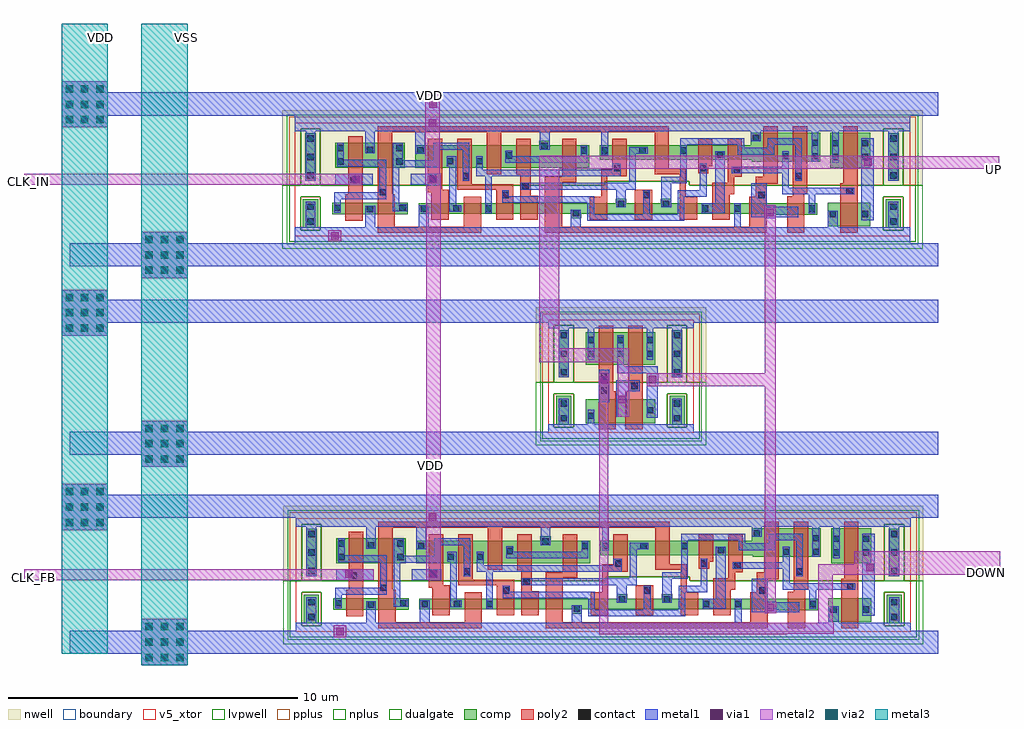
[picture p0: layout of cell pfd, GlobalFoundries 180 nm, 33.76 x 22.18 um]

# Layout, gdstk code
import gdstk
lib = gdstk.Library(unit=1e-6, precision=1e-09)
def R(c, l, rs):  # rectangles x0, y0, x1, y1
    for r in rs: c.add(gdstk.rectangle(r[:2], r[2:], *l))
def A(c, l, x, y, w, h, nx, ny, dx, dy):  # array of equal rectangles
    R(c, l, [(x+i*dx, y+j*dy, x+i*dx+w, y+j*dy+h) for i in range(nx) for j in range(ny)])
def P(c, l, *ps):  # polygons
    for p in ps: c.add(gdstk.Polygon(p, *l))
boundary = (0, 0)
nwell = (21, 0)
comp = (22, 0)
poly2 = (30, 0)
pplus = (31, 0)
nplus = (32, 0)
contact = (33, 0)
metal1 = (34, 0)
via1 = (35, 0)
metal2 = (36, 0)
via2 = (38, 0)
metal3 = (42, 0)
dualgate = (55, 0)
v5_xtor = (112, 1)
lvpwell = (204, 0)

gf180mcu_fd_sc_mcu7t5v0_ = lib.new_cell('gf180mcu_fd_sc_mcu7t5v0__dffrnq_1')
R(gf180mcu_fd_sc_mcu7t5v0_, boundary, [(0,0,19.04,3.92)])
P(gf180mcu_fd_sc_mcu7t5v0_, nwell, [(-0.43,1.76),(-0.43,4.35),(19.47,4.35),(19.47,1.76),(12.515,1.76),(12.515,1.895),(9.6,1.895),(9.6,1.76)])
R(gf180mcu_fd_sc_mcu7t5v0_, comp, [(17.305,0.345,18.785,1.16), (0.18,0.755,2.78,1.16), (0.28,2.36,2.68,3.225), (17.405,2.36,18.785,3.575)])
P(gf180mcu_fd_sc_mcu7t5v0_, comp, [(3.04,2.36),(3.04,3.14),(7.34,3.14),(7.34,3.3),(7.7,3.3),(7.7,3.14),(9.06,3.14),(9.06,2.36)],
  [(8.42,0.62),(8.42,0.78),(3.16,0.78),(3.16,1.14),(9.98,1.14),(9.98,1.295),(10.34,1.295),(10.34,1.14),(11.54,1.14),(11.54,1.295),(11.9,1.295),(11.9,1.14),(16.945,1.14),(16.945,0.74),(15.505,0.74),(15.505,0.78),(8.78,0.78),(8.78,0.62)],
  [(14.685,2.58),(14.685,2.635),(9.42,2.635),(9.42,3.14),(14.645,3.14),(14.645,3.58),(17.045,3.58),(17.045,2.58)])
R(gf180mcu_fd_sc_mcu7t5v0_, poly2, [(10.64,0.56,11.24,1.6)])
P(gf180mcu_fd_sc_mcu7t5v0_, poly2, [(0.62,0.535),(0.62,1.44),(0.72,1.44),(0.72,3.45),(1.22,3.45),(1.22,0.535)],
  [(3.6,0.56),(3.6,1.51),(3.48,1.51),(3.48,3.36),(3.98,3.36),(3.98,1.61),(4.2,1.61),(4.2,0.56)],
  [(5.84,0.56),(5.84,1.6),(4.5,1.6),(4.5,3.36),(5,3.36),(5,1.8),(6.44,1.8),(6.44,0.56)],
  [(6.68,0.56),(6.68,2.115),(6.54,2.115),(6.54,3.36),(7.04,3.36),(7.04,1.4),(7.28,1.4),(7.28,0.56)],
  [(9.08,0.56),(9.08,1.36),(9.48,1.36),(9.48,2.335),(9.86,2.335),(9.86,3.36),(10.36,3.36),(10.36,2.07),(9.68,2.07),(9.68,0.56)],
  [(1.74,0.12),(1.74,3.8),(11.82,3.8),(11.82,2.335),(12.4,2.335),(12.4,1.36),(12.8,1.36),(12.8,0.56),(12.2,0.56),(12.2,2.135),(11.32,2.135),(11.32,3.6),(6.02,3.6),(6.02,2.14),(5.52,2.14),(5.52,3.6),(2.24,3.6),(2.24,1.44),(2.34,1.44),(2.34,0.32),(4.72,0.32),(4.72,1.36),(5.32,1.36),(5.32,0.12)],
  [(12.825,2.175),(12.825,3.36),(13.325,3.36),(13.325,2.415),(13.185,2.415),(13.185,2.175)],
  [(13.325,0.56),(13.325,1.84),(13.845,1.84),(13.845,3.36),(14.345,3.36),(14.345,2.06),(14.085,2.06),(14.085,1.44),(13.925,1.44),(13.925,0.56)],
  [(7.52,0.12),(7.52,2.06),(8.12,2.06),(8.12,3.36),(8.62,3.36),(8.62,1.86),(8.12,1.86),(8.12,0.32),(14.605,0.32),(14.605,1.36),(14.825,1.36),(14.825,2.06),(15.085,2.06),(15.085,3.8),(15.585,3.8),(15.585,1.805),(15.205,1.805),(15.205,0.12)],
  [(15.905,0.12),(15.905,1.38),(16.105,1.38),(16.105,3.8),(16.605,3.8),(16.605,1.46),(16.505,1.46),(16.505,0.12)],
  [(17.745,0.12),(17.745,1.82),(17.845,1.82),(17.845,3.8),(18.345,3.8),(18.345,0.12)])
P(gf180mcu_fd_sc_mcu7t5v0_, pplus, [(-0.2,1.76),(-0.2,4.12),(19.24,4.12),(19.24,1.76),(12.515,1.76),(12.515,1.895),(9.6,1.895),(9.6,1.76)])
P(gf180mcu_fd_sc_mcu7t5v0_, nplus, [(-0.2,-0.2),(-0.2,1.76),(9.6,1.76),(9.6,1.895),(12.515,1.895),(12.515,1.76),(19.24,1.76),(19.24,-0.2)])
A(gf180mcu_fd_sc_mcu7t5v0_, contact, 3.23, 0.85, 0.22, 0.22, 3, 1, 1.12, 0)
R(gf180mcu_fd_sc_mcu7t5v0_, contact, [(17.375,0.65,17.595,0.87), (18.495,0.65,18.715,0.87), (8.49,0.69,8.71,0.91), (1.37,0.825,1.59,1.045), (12.955,0.85,13.175,1.07), (14.075,0.85,14.295,1.07), (16.655,0.85,16.875,1.07), (0.25,0.87,0.47,1.09), (2.49,0.87,2.71,1.09), (10.05,1.005,10.27,1.225), (11.61,1.005,11.83,1.225), (6.05,1.31,6.27,1.53), (10.93,1.31,11.15,1.53), (14.915,1.31,15.135,1.53), (1.81,1.405,2.03,1.625), (17.95,1.455,18.17,1.675), (6.75,1.615,6.97,1.835), (0.79,1.835,1.01,2.055), (3.55,1.885,3.77,2.105), (4.69,1.97,4.91,2.19), (16.195,1.97,16.415,2.19), (14.055,2.18,14.275,2.4), (9.93,2.245,10.15,2.465), (12.895,2.245,13.115,2.465), (0.35,2.465,0.57,2.685), (2.39,2.465,2.61,2.685), (4.13,2.48,4.35,2.7), (5.15,2.48,5.37,2.7), (17.475,2.63,17.695,2.85), (18.495,2.63,18.715,2.85), (15.735,2.65,15.955,2.87), (16.755,2.65,16.975,2.87), (6.17,2.675,6.39,2.895), (13.475,2.705,13.695,2.925), (3.11,2.85,3.33,3.07), (8.77,2.85,8.99,3.07), (9.49,2.85,9.71,3.07), (10.8,2.85,11.02,3.07), (12.215,2.85,12.435,3.07), (1.37,2.87,1.59,3.09), (0.35,2.935,0.57,3.155), (2.39,2.935,2.61,3.155), (7.41,3.01,7.63,3.23), (17.475,3.1,17.695,3.32), (18.495,3.1,18.715,3.32), (16.755,3.12,16.975,3.34), (14.715,3.285,14.935,3.505)])
R(gf180mcu_fd_sc_mcu7t5v0_, metal1, [(18.475,0.55,18.91,3.38), (0.28,1.77,1.57,2.15), (2.89,1.77,3.92,2.15)])
P(gf180mcu_fd_sc_mcu7t5v0_, metal1, [(0.245,0.81),(0.245,1.51),(1.805,1.51),(1.805,2.405),(0.345,2.405),(0.345,3.225),(0.575,3.225),(0.575,2.635),(2.035,2.635),(2.035,1.28),(0.475,1.28),(0.475,0.81)],
  [(4.225,0.845),(4.225,2.42),(4.125,2.42),(4.125,2.76),(4.455,2.76),(4.455,1.075),(4.63,1.075),(4.63,0.845)],
  [(2.265,0.865),(2.265,3.215),(2.615,3.215),(2.615,2.615),(3.665,2.615),(3.665,3.22),(4.915,3.22),(4.915,1.91),(4.685,1.91),(4.685,2.99),(3.895,2.99),(3.895,2.385),(2.495,2.385),(2.495,1.095),(2.77,1.095),(2.77,0.865)],
  [(6.165,2.53),(6.165,2.955),(6.395,2.955),(6.395,2.76),(8.765,2.76),(8.765,3.13),(8.995,3.13),(8.995,2.53)],
  [(5.465,0.79),(5.465,2.07),(5.145,2.07),(5.145,2.76),(5.375,2.76),(5.375,2.3),(9.855,2.3),(9.855,2.525),(10.155,2.525),(10.155,2.07),(5.695,2.07),(5.695,0.79)],
  [(9.99,1),(9.99,1.61),(6.69,1.61),(6.69,1.84),(10.44,1.84),(10.44,3.075),(11.08,3.075),(11.08,2.845),(10.67,2.845),(10.67,1.61),(10.33,1.61),(10.33,1)],
  [(9,0.53),(9,1.15),(6.045,1.15),(6.045,1.59),(6.275,1.59),(6.275,1.38),(9.23,1.38),(9.23,0.76),(10.925,0.76),(10.925,1.59),(11.155,1.59),(11.155,0.76),(12.12,0.76),(12.12,1.59),(12.89,1.59),(12.89,2.525),(13.12,2.525),(13.12,1.36),(12.35,1.36),(12.35,0.53)],
  [(12.95,0.79),(12.95,1.13),(13.415,1.13),(13.415,2.93),(13.755,2.93),(13.755,0.79)],
  [(14.66,0.66),(14.66,1.83),(15.205,1.83),(15.205,1.02),(16.295,1.02),(16.295,0.66)],
  [(11.55,1),(11.55,2.05),(12.21,2.05),(12.21,3.39),(14.425,3.39),(14.425,3.05),(15.235,3.05),(15.235,3.39),(16.42,3.39),(16.42,1.91),(16.19,1.91),(16.19,3.16),(15.465,3.16),(15.465,2.82),(14.195,2.82),(14.195,3.16),(12.44,3.16),(12.44,1.82),(11.89,1.82),(11.89,1)],
  [(16.65,0.79),(16.65,1.45),(15.73,1.45),(15.73,2.175),(13.995,2.175),(13.995,2.405),(15.73,2.405),(15.73,2.93),(15.96,2.93),(15.96,1.68),(18.23,1.68),(18.23,1.45),(16.88,1.45),(16.88,0.79)],
  [(0,-0.3),(0,0.3),(1.31,0.3),(1.31,1.05),(1.655,1.05),(1.655,0.3),(3.17,0.3),(3.17,1.075),(3.51,1.075),(3.51,0.3),(8.43,0.3),(8.43,0.915),(8.77,0.915),(8.77,0.3),(14.07,0.3),(14.07,1.13),(14.3,1.13),(14.3,0.3),(17.315,0.3),(17.315,0.875),(17.655,0.875),(17.655,0.3),(19.04,0.3),(19.04,-0.3)],
  [(17.47,2.53),(17.47,3.62),(16.98,3.62),(16.98,2.59),(16.75,2.59),(16.75,3.62),(14.995,3.62),(14.995,3.28),(14.655,3.28),(14.655,3.62),(9.715,3.62),(9.715,2.79),(9.485,2.79),(9.485,3.62),(7.69,3.62),(7.69,2.99),(7.35,2.99),(7.35,3.62),(3.39,3.62),(3.39,2.845),(3.05,2.845),(3.05,3.62),(1.65,3.62),(1.65,2.865),(1.31,2.865),(1.31,3.62),(0,3.62),(0,4.22),(19.04,4.22),(19.04,3.62),(17.7,3.62),(17.7,2.53)])
R(gf180mcu_fd_sc_mcu7t5v0_, dualgate, [(-0.28,-0.28,19.32,4.2)])
R(gf180mcu_fd_sc_mcu7t5v0_, v5_xtor, [(0,0,19.04,3.92)])
P(gf180mcu_fd_sc_mcu7t5v0_, lvpwell, [(-0.43,-0.43),(-0.43,1.76),(9.6,1.76),(9.6,1.895),(12.515,1.895),(12.515,1.76),(19.47,1.76),(19.47,-0.43)])
gf180mcu_fd_sc_mcu7t5v0_.add(gdstk.Label('D', (3.64,1.96), layer=34, texttype=10))
gf180mcu_fd_sc_mcu7t5v0_.add(gdstk.Label('Q', (18.76,1.96), layer=34, texttype=10))
gf180mcu_fd_sc_mcu7t5v0_.add(gdstk.Label('RN', (15.4,0.84), layer=34, texttype=10))
gf180mcu_fd_sc_mcu7t5v0_.add(gdstk.Label('VSS', (1.4,0), layer=34, texttype=10))
gf180mcu_fd_sc_mcu7t5v0_.add(gdstk.Label('CLK', (0.84,1.96), layer=34, texttype=10))
gf180mcu_fd_sc_mcu7t5v0_.add(gdstk.Label('VDD', (1.4,3.92), layer=34, texttype=10))
gf180mcu_fd_sc_mcu7t5v0_.add(gdstk.Label('& Vendor GLOBALFOUNDRIES', (0,2), layer=63, texttype=63))
gf180mcu_fd_sc_mcu7t5v0_.add(gdstk.Label('& Product GF018hv5v_mcu_sc7', (0,1.5), layer=63, texttype=63))
gf180mcu_fd_sc_mcu7t5v0_.add(gdstk.Label('& Version 2015q2v1', (0,1), layer=63, texttype=63))
gf180mcu_fd_sc_mcu7t5v0_.add(gdstk.Label('& Metric 1.00', (0,0.5), layer=63, texttype=63))
gf180mcu_fd_sc_mcu7t5v0_.add(gdstk.Label('VNW', (0.345,3.92), layer=21, texttype=10))
gf180mcu_fd_sc_mcu7t5v0_.add(gdstk.Label('VPW', (0.34,-0.085), layer=204, texttype=10))

c_gf180mcu_fd_sc_mcu7t5v0_ = lib.new_cell('gf180mcu_fd_sc_mcu7t5v0__endcap')
R(c_gf180mcu_fd_sc_mcu7t5v0_, boundary, [(0,0,1.12,3.92)])
R(c_gf180mcu_fd_sc_mcu7t5v0_, nwell, [(-0.43,1.76,1.55,4.35)])
R(c_gf180mcu_fd_sc_mcu7t5v0_, comp, [(0.28,0.28,0.8,1.28), (0.36,1.92,0.72,3.56)])
R(c_gf180mcu_fd_sc_mcu7t5v0_, pplus, [(0.2,0.2,0.88,1.36)])
P(c_gf180mcu_fd_sc_mcu7t5v0_, pplus, [(-0.2,1.76),(-0.2,4.12),(1.32,4.12),(1.32,1.76),(0.88,1.76),(0.88,3.72),(0.2,3.72),(0.2,1.76)])
P(c_gf180mcu_fd_sc_mcu7t5v0_, nplus, [(-0.2,-0.2),(-0.2,1.76),(0.2,1.76),(0.2,3.72),(0.88,3.72),(0.88,1.36),(0.2,1.36),(0.2,0.2),(0.88,0.2),(0.88,3.72),(0.88,1.76),(1.32,1.76),(1.32,-0.2)])
A(c_gf180mcu_fd_sc_mcu7t5v0_, contact, 0.43, 1.99, 0.22, 0.22, 1, 3, 0, 0.64)
R(c_gf180mcu_fd_sc_mcu7t5v0_, contact, [(0.43,0.4,0.65,0.62), (0.43,0.905,0.65,1.125)])
P(c_gf180mcu_fd_sc_mcu7t5v0_, metal1, [(0,-0.3),(0,0.3),(0.37,0.3),(0.37,1.19),(0.71,1.19),(0.71,0.3),(1.12,0.3),(1.12,-0.3)],
  [(0.37,1.92),(0.37,3.62),(0,3.62),(0,4.22),(1.12,4.22),(1.12,3.62),(0.71,3.62),(0.71,1.92)])
R(c_gf180mcu_fd_sc_mcu7t5v0_, dualgate, [(-0.28,-0.28,1.4,4.2)])
R(c_gf180mcu_fd_sc_mcu7t5v0_, v5_xtor, [(0,0,1.12,3.92)])
R(c_gf180mcu_fd_sc_mcu7t5v0_, lvpwell, [(-0.43,-0.43,1.55,1.76)])
c_gf180mcu_fd_sc_mcu7t5v0_.add(gdstk.Label('VSS', (0.56,-0.01), layer=34, texttype=10))
c_gf180mcu_fd_sc_mcu7t5v0_.add(gdstk.Label('VDD', (0.56,3.935), layer=34, texttype=10))
c_gf180mcu_fd_sc_mcu7t5v0_.add(gdstk.Label('& Vendor GLOBALFOUNDRIES', (0,2), layer=63, texttype=63))
c_gf180mcu_fd_sc_mcu7t5v0_.add(gdstk.Label('& Product GF018hv5v_mcu_sc7', (0,1.5), layer=63, texttype=63))
c_gf180mcu_fd_sc_mcu7t5v0_.add(gdstk.Label('& Version 2015q2v1', (0,1), layer=63, texttype=63))
c_gf180mcu_fd_sc_mcu7t5v0_.add(gdstk.Label('& Metric 1.00', (0,0.5), layer=63, texttype=63))

c_gf180mcu_fd_sc_mcu7t5v0__ = lib.new_cell('gf180mcu_fd_sc_mcu7t5v0__nand2_1')
R(c_gf180mcu_fd_sc_mcu7t5v0__, boundary, [(0,0,2.8,3.92)])
R(c_gf180mcu_fd_sc_mcu7t5v0__, nwell, [(-0.43,1.76,3.23,4.35)])
R(c_gf180mcu_fd_sc_mcu7t5v0__, comp, [(0.185,0.34,2.585,1.16), (0.185,2.36,2.585,3.49)])
P(c_gf180mcu_fd_sc_mcu7t5v0__, poly2, [(0.625,0.12),(0.625,3.71),(1.125,3.71),(1.125,1.44),(1.225,1.44),(1.225,0.12)],
  [(1.545,0.12),(1.545,1.44),(1.645,1.44),(1.645,3.71),(2.145,3.71),(2.145,0.12)])
R(c_gf180mcu_fd_sc_mcu7t5v0__, pplus, [(-0.2,1.76,3,4.12)])
R(c_gf180mcu_fd_sc_mcu7t5v0__, nplus, [(-0.2,-0.2,3,1.76)])
A(c_gf180mcu_fd_sc_mcu7t5v0__, contact, 0.255, 2.63, 0.22, 0.22, 3, 2, 1.02, 0.47)
R(c_gf180mcu_fd_sc_mcu7t5v0__, contact, [(0.255,0.485,0.475,0.705), (2.295,0.675,2.515,0.895), (0.695,1.365,0.915,1.585), (1.755,1.515,1.975,1.735), (0.695,1.835,0.915,2.055)])
R(c_gf180mcu_fd_sc_mcu7t5v0__, metal1, [(0.635,1.06,1,2.19)])
P(c_gf180mcu_fd_sc_mcu7t5v0__, metal1, [(1.24,0.555),(1.24,1.82),(2.055,1.82),(2.055,1.44),(1.605,1.44),(1.605,0.555)],
  [(2.29,0.53),(2.29,2.07),(1.27,2.07),(1.27,3.38),(1.5,3.38),(1.5,2.3),(2.68,2.3),(2.68,0.53)],
  [(0,-0.3),(0,0.3),(0.25,0.3),(0.25,0.805),(0.48,0.805),(0.48,0.3),(2.8,0.3),(2.8,-0.3)],
  [(0.25,2.53),(0.25,3.62),(0,3.62),(0,4.22),(2.8,4.22),(2.8,3.62),(2.52,3.62),(2.52,2.53),(2.29,2.53),(2.29,3.62),(0.48,3.62),(0.48,2.53)])
R(c_gf180mcu_fd_sc_mcu7t5v0__, dualgate, [(-0.28,-0.28,3.08,4.2)])
R(c_gf180mcu_fd_sc_mcu7t5v0__, v5_xtor, [(0,0,2.8,3.92)])
R(c_gf180mcu_fd_sc_mcu7t5v0__, lvpwell, [(-0.43,-0.43,3.23,1.76)])
c_gf180mcu_fd_sc_mcu7t5v0__.add(gdstk.Label('VDD', (1.4,3.905), layer=34, texttype=10))
c_gf180mcu_fd_sc_mcu7t5v0__.add(gdstk.Label('VSS', (1.4,-0.015), layer=34, texttype=10))
c_gf180mcu_fd_sc_mcu7t5v0__.add(gdstk.Label('ZN', (2.52,1.96), layer=34, texttype=10))
c_gf180mcu_fd_sc_mcu7t5v0__.add(gdstk.Label('A1', (1.4,1.4), layer=34, texttype=10))
c_gf180mcu_fd_sc_mcu7t5v0__.add(gdstk.Label('A2', (0.84,1.4), layer=34, texttype=10))
c_gf180mcu_fd_sc_mcu7t5v0__.add(gdstk.Label('& Vendor GLOBALFOUNDRIES', (0,2), layer=63, texttype=63))
c_gf180mcu_fd_sc_mcu7t5v0__.add(gdstk.Label('& Product GF018hv5v_mcu_sc7', (0,1.5), layer=63, texttype=63))
c_gf180mcu_fd_sc_mcu7t5v0__.add(gdstk.Label('& Version 2015q2v1', (0,1), layer=63, texttype=63))
c_gf180mcu_fd_sc_mcu7t5v0__.add(gdstk.Label('& Metric 1.00', (0,0.5), layer=63, texttype=63))
c_gf180mcu_fd_sc_mcu7t5v0__.add(gdstk.Label('VNW', (0.345,3.92), layer=21, texttype=10))
c_gf180mcu_fd_sc_mcu7t5v0__.add(gdstk.Label('VPW', (0.34,-0.085), layer=204, texttype=10))

via_dev = lib.new_cell('via_dev')
R(via_dev, metal1, [(0,0,1.6,1.6)])
A(via_dev, via1, 0.14, 0.14, 0.26, 0.26, 3, 3, 0.53, 0.53)
R(via_dev, metal2, [(0,0,1.6,1.6)])
A(via_dev, via2, 0.14, 0.14, 0.26, 0.26, 3, 3, 0.53, 0.53)
R(via_dev, metal3, [(0,0,1.6,1.6)])

via_dev_1 = lib.new_cell('via_dev$1')
R(via_dev_1, metal1, [(0,0,0.4,0.4)])
R(via_dev_1, via1, [(0.07,0.07,0.33,0.33)])
R(via_dev_1, metal2, [(0,0,0.4,0.4)])

pfd = lib.new_cell('pfd')
R(pfd, via1, [(-2.775,-3.075,-2.515,-2.815), (-2.46,-1.09,-2.2,-0.83), (0.45,-1.09,0.71,-0.83), (15.55,-0.87,15.81,-0.61), (0.42,0.88,0.68,1.14), (6.98,4.95,7.24,5.21), (6.36,5.63,6.62,5.89), (-2.95,10.61,-2.69,10.87), (15.48,13.155,15.74,13.415), (0.42,14.51,0.68,14.77)])
R(pfd, metal2, [(-2.86,-3.15,-2.43,-2.73), (6.32,-3.04,12.82,-2.65), (6.32,-3.03,6.625,6.01), (12.56,-3.03,14.43,-2.64), (13.89,-2.94,14.39,-0.62), (12.05,-2.31,12.415,11.79), (-13.58,-1.18,-1.485,-0.8), (0.333,-1.18,0.835,12.87), (13.89,-0.99,15.86,-0.62), (15.13,-0.99,15.86,-0.17), (15.13,-0.99,20.18,-0.17), (7.96,5.54,12.415,5.99), (6.3,5.59,6.67,5.95), (4.248,6.36,4.93,13.505), (4.25,6.36,7.31,6.855), (-3.05,10.56,-2.6,10.93), (-13.58,12.5,-1.89,12.88), (0.303,12.5,0.805,15.63), (4.248,13.06,15.48,13.505), (15.03,13.06,20.15,13.495)])
pfd.add(gdstk.FlexPath([(18.04,15.3),(-11.99,15.3)], 0.8, ends="flush", simple_path=True, layer=34, datatype=0))  # metal1
pfd.add(gdstk.FlexPath([(18.04,10.09),(-11.99,10.09)], 0.8, ends="flush", simple_path=True, layer=34, datatype=0))  # metal1
pfd.add(gdstk.FlexPath([(18.04,3.56),(-11.99,3.56)], 0.8, ends="flush", simple_path=True, layer=34, datatype=0))  # metal1
pfd.add(gdstk.FlexPath([(18.04,8.13),(-11.99,8.13)], 0.8, ends="flush", simple_path=True, layer=34, datatype=0))  # metal1
pfd.add(gdstk.FlexPath([(18.04,1.38),(-11.99,1.38)], 0.8, ends="flush", simple_path=True, layer=34, datatype=0))  # metal1
pfd.add(gdstk.FlexPath([(18.04,-3.32),(-11.99,-3.32)], 0.8, ends="flush", simple_path=True, layer=34, datatype=0))  # metal1
pfd.add(gdstk.FlexPath([(7.16,4.48),(7.16,6.85)], 0.4, ends="flush", simple_path=True, layer=36, datatype=0))  # metal2
pfd.add(gdstk.FlexPath([(-11.48,-3.71),(-11.48,18.07)], 1.6, ends="flush", simple_path=True, layer=42, datatype=0))  # metal3
pfd.add(gdstk.FlexPath([(-8.72,-3.71),(-8.72,18.07)], 1.6, ends="flush", simple_path=True, layer=42, datatype=0))  # metal3
pfd.add(gdstk.Reference(gf180mcu_fd_sc_mcu7t5v0_, (-3.06,-2.95)))
pfd.add(gdstk.Reference(gf180mcu_fd_sc_mcu7t5v0_, (-3.09,10.73)))
pfd.add(gdstk.Reference(c_gf180mcu_fd_sc_mcu7t5v0_, (15.95,10.73)))
pfd.add(gdstk.Reference(c_gf180mcu_fd_sc_mcu7t5v0_, (-4.21,10.73)))
pfd.add(gdstk.Reference(c_gf180mcu_fd_sc_mcu7t5v0_, (8.47,3.92)))
pfd.add(gdstk.Reference(c_gf180mcu_fd_sc_mcu7t5v0_, (4.55,3.92)))
pfd.add(gdstk.Reference(c_gf180mcu_fd_sc_mcu7t5v0__, (5.67,3.92)))
pfd.add(gdstk.Reference(c_gf180mcu_fd_sc_mcu7t5v0_, (15.98,-2.95)))
pfd.add(gdstk.Reference(c_gf180mcu_fd_sc_mcu7t5v0_, (-4.18,-2.95)))
pfd.add(gdstk.Reference(via_dev, (-12.28,14.49)))
pfd.add(gdstk.Reference(via_dev, (-12.28,0.56)))
pfd.add(gdstk.Reference(via_dev, (-12.28,7.28)))
pfd.add(gdstk.Reference(via_dev, (-9.52,9.28)))
pfd.add(gdstk.Reference(via_dev, (-9.52,2.75)))
pfd.add(gdstk.Reference(via_dev, (-9.52,-4.11)))
pfd.add(gdstk.Reference(via_dev_1, (-2.29,12.48)))
pfd.add(gdstk.Reference(via_dev_1, (0.36,12.48)))
pfd.add(gdstk.Reference(via_dev_1, (12.02,11.35)))
pfd.add(gdstk.Reference(via_dev_1, (12.04,-2.31)))
pfd.add(gdstk.Reference(via_dev_1, (7.96,5.57)))
pfd.add(gdstk.Reference(via_dev_1, (0.36,15.1)))
pfd.add(gdstk.Label('CLK_IN', (-13.441,12.609), layer=36, texttype=10))
pfd.add(gdstk.Label('UP', (19.942,13.042), layer=36, texttype=10))
pfd.add(gdstk.Label('DOWN', (19.724,-0.906), layer=36, texttype=10))
pfd.add(gdstk.Label('CLK_FB', (-13.258,-1.078), layer=36, texttype=10))
pfd.add(gdstk.Label('VDD', (0.44,15.58), layer=36, texttype=10))
pfd.add(gdstk.Label('VDD', (0.48,2.79), layer=36, texttype=10))
pfd.add(gdstk.Label('VDD', (-10.92,17.61), layer=42, texttype=10))
pfd.add(gdstk.Label('VSS', (-7.969,17.611), layer=42, texttype=10))

lib.write_gds('pfd.gds')
